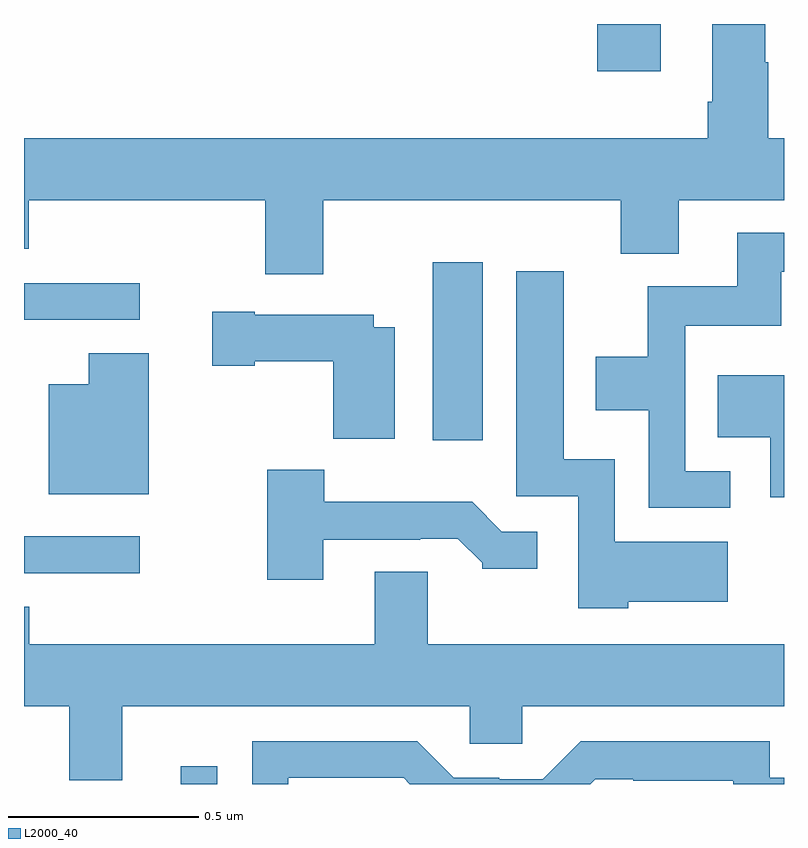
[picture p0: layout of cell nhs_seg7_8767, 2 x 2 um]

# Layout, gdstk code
import gdstk
lib = gdstk.Library(unit=1e-6, precision=1e-09)
def R(c, l, rs):  # rectangles x0, y0, x1, y1
    for r in rs: c.add(gdstk.rectangle(r[:2], r[2:], *l))
def P(c, l, *ps):  # polygons
    for p in ps: c.add(gdstk.Polygon(p, *l))
L2000_40 = (2000, 40)

nhs_seg7_8767 = lib.new_cell('nhs_seg7_8767')
R(nhs_seg7_8767, L2000_40, [(228.413,1079,228.509,1079.047), (228,1079.555,228.304,1079.652), (229.076,1079.904,229.207,1080.373), (228,1080.222,228.304,1080.318), (229.508,1080.876,229.675,1081)])
P(nhs_seg7_8767, L2000_40, [(228.787,1080.536),(229.571,1080.536),(229.571,1080.395),(229.723,1080.395),(229.723,1080.536),(230,1080.536),(230,1080.7),(229.959,1080.7),(229.959,1080.899),(229.951,1080.899),(229.951,1081),(229.811,1081),(229.811,1080.796),(229.799,1080.796),(229.799,1080.7),(228,1080.7),(228,1080.408),(228.013,1080.408),(228.013,1080.536),(228.635,1080.536),(228.635,1080.342),(228.787,1080.342)],
  [(229.858,1079.823),(229.74,1079.823),(229.74,1080.206),(229.993,1080.206),(229.993,1080.348),(230,1080.348),(230,1080.451),(229.877,1080.451),(229.877,1080.31),(229.642,1080.31),(229.642,1080.124),(229.505,1080.124),(229.505,1079.984),(229.644,1079.984),(229.644,1079.727),(229.858,1079.727)],
  [(229.59,1079.48),(229.852,1079.48),(229.852,1079.638),(229.554,1079.638),(229.554,1079.854),(229.42,1079.854),(229.42,1080.349),(229.295,1080.349),(229.295,1079.757),(229.458,1079.757),(229.458,1079.462),(229.59,1079.462)],
  [(228.976,1080.202),(228.921,1080.202),(228.921,1080.235),(228.607,1080.235),(228.607,1080.243),(228.495,1080.243),(228.495,1080.101),(228.607,1080.101),(228.607,1080.113),(228.814,1080.113),(228.814,1079.909),(228.976,1079.909)],
  [(228.328,1080.133),(228.17,1080.133),(228.17,1080.052),(228.065,1080.052),(228.065,1079.762),(228.328,1079.762)],
  [(230,1080.076),(229.825,1080.076),(229.825,1079.912),(229.964,1079.912),(229.964,1079.754),(230,1079.754)],
  [(228.787,1079.643),(229.043,1079.643),(229.043,1079.646),(229.142,1079.646),(229.206,1079.582),(229.206,1079.567),(229.351,1079.567),(229.351,1079.664),(229.257,1079.664),(229.179,1079.743),(228.79,1079.743),(228.79,1079.827),(228.64,1079.827),(228.64,1079.538),(228.787,1079.538)],
  [(228.259,1079.204),(229.173,1079.204),(229.173,1079.106),(229.311,1079.106),(229.311,1079.204),(230,1079.204),(230,1079.368),(229.063,1079.368),(229.063,1079.558),(228.923,1079.558),(228.923,1079.368),(228.014,1079.368),(228.014,1079.466),(228,1079.466),(228,1079.204),(228.119,1079.204),(228.119,1079.01),(228.259,1079.01)],
  [(228.696,1079.016),(228.999,1079.016),(229.015,1079),(229.49,1079),(229.503,1079.013),(229.603,1079.013),(229.603,1079.009),(229.866,1079.009),(229.866,1079),(230,1079),(230,1079.016),(229.962,1079.016),(229.962,1079.113),(229.465,1079.113),(229.365,1079.013),(229.25,1079.013),(229.25,1079.016),(229.131,1079.016),(229.035,1079.112),(228.6,1079.112),(228.6,1079),(228.696,1079)])

lib.write_gds('nhs_seg7_8767.gds')
